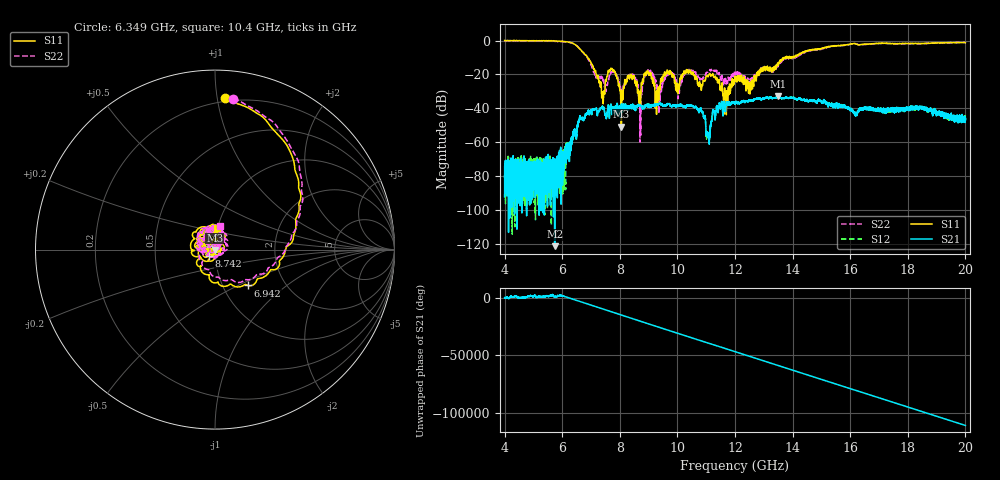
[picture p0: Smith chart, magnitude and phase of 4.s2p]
[Version] 2.0
! Rohde & Schwarz Vector Network Analyzer
! Rohde-Schwarz,ZNL20-2Port,1323001220200009,1.71.1.10-23.02.1.238
! Port Assignments:
! Nominal Port -> Actual Test Port
!  1 -> 1
!  2 -> 2
! Created: GMT+2 2025-01-17 12:07:45
# Hz S RI R 50
[Number of Ports] 2
[Two-Port Data Order] 21_12
! freq[Hz]  S11[Re]  S11[Im]  S21[Re]  S21[Im]  S12[Re]  S12[Im]  S22[Re]  S22[Im]
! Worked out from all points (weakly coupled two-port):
!   16001 points, 4 GHz to 20 GHz, reference 50 ohm
!   highest |S21| = -32.90 dB at 13.49 GHz (marker M1); lowest = -121.3 dB at 5.738 GHz (marker M2)
!   lowest |S11| = -50.7 dB at 8.055 GHz (marker M3), VSWR 1.01, Z = 49.9 - j0.254 ohm
!   |S11| at or under -10 dB: 6.887 GHz to 13.7 GHz (6.814 GHz wide, 66.2 % of centre); 13.71199 GHz to 13.74179 GHz (29.79 MHz wide, 0.217 % of centre); 13.94217 GHz to 13.96573 GHz (23.56 MHz wide, 0.169 % of centre) (the widest 3 of 9)
!   |S22| runs from -59.9 to 0.0 dB; largest |S21 - S12| = 0.0023
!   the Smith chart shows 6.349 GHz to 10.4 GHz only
!   S11 on the Smith chart (normalised r, x): 6.349 GHz: 0.18, +1.05; 6.942 GHz: 1.31, -0.57; 8.742 GHz: 0.93, -0.07; 10.4 GHz: 0.99, +0.24
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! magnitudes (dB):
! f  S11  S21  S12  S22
! 4 GHz  0.0  -92.2  -79.4  -0.2
! 5.738 GHz  -0.2  -121.3  -77.6  -0.4
! 6.349 GHz  -1.5  -59.0  -57.0  -1.5
! 6.667 GHz  -5.9  -45.7  -45.8  -6.0
! 6.942 GHz  -11.3  -43.4  -43.2  -12.5
! 7.401 GHz  -30.4  -39.1  -39.0  -22.4
! 7.72 GHz  -16.8  -41.5  -41.4  -18.8
! 8.055 GHz  -50.7  -37.4  -37.3  -30.9
! 8.424 GHz  -22.7  -39.6  -39.5  -21.6
! 8.742 GHz  -26.1  -38.8  -38.8  -29.8
! 8.999 GHz  -20.1  -38.0  -37.9  -18.7
! 9.334 GHz  -28.1  -37.8  -37.8  -30.4
! 9.585 GHz  -20.3  -38.1  -38.1  -21.4
! 10.05 GHz  -25.9  -38.5  -38.4  -28.5
! 10.4 GHz  -18.3  -38.5  -38.4  -17.2
! 11.07 GHz  -21.3  -55.4  -54.6  -18.3
! 11.67 GHz  -30.3  -41.6  -41.6  -22.5
! 12 GHz  -21.3  -37.6  -37.5  -19.2
! 13.49 GHz  -13.8  -32.9  -33.1  -15.3
! 14.67 GHz  -5.4  -35.4  -35.3  -5.9
! 17.33 GHz  -1.7  -41.7  -41.8  -1.8
! 20 GHz  -1.2  -46.9  -46.9  -1.2
